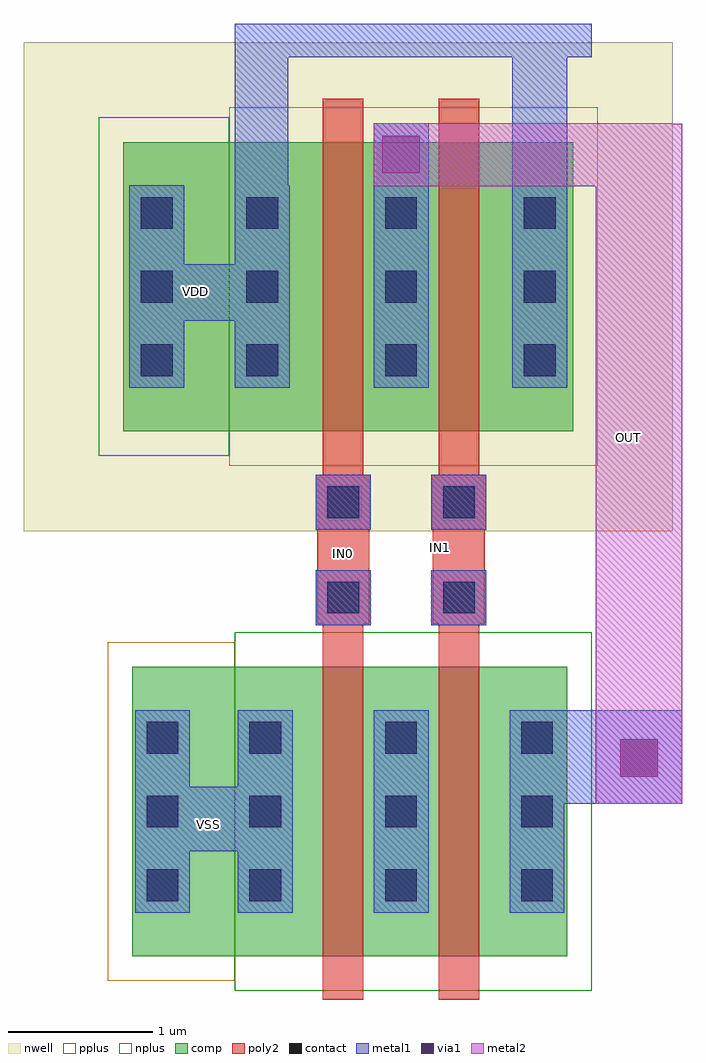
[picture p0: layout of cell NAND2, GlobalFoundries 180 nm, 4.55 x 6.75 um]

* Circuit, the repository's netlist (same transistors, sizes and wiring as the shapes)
** sch_path: /foss/designs/CAD2/NAND2.sch
.subckt NAND2 vdd INO OUT IN1 vss
*.PININFO INO:I IN1:I vdd:B vss:B OUT:O
M1 OUT INO net1 vss nfet_03v3 L=0.28u W=2u nf=1 m=1
M2 net1 IN1 vss vss nfet_03v3 L=0.28u W=2u nf=1 m=1
M3 OUT INO vdd vdd pfet_03v3 L=0.28u W=2u nf=1 m=1
M4 OUT IN1 vdd vdd pfet_03v3 L=0.28u W=2u nf=1 m=1
.ends

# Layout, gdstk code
from math import pi, radians
import gdstk
lib = gdstk.Library(unit=1e-6, precision=5e-09)
def R(c, l, rs):  # rectangles x0, y0, x1, y1
    for r in rs: c.add(gdstk.rectangle(r[:2], r[2:], *l))
def A(c, l, x, y, w, h, nx, ny, dx, dy):  # array of equal rectangles
    R(c, l, [(x+i*dx, y+j*dy, x+i*dx+w, y+j*dy+h) for i in range(nx) for j in range(ny)])
nwell = (21, 0)
comp = (22, 0)
poly2 = (30, 0)
pplus = (31, 0)
nplus = (32, 0)
contact = (33, 0)
metal1 = (34, 0)
via1 = (35, 0)
metal2 = (36, 0)

nfet_1 = lib.new_cell('nfet$1')
R(nfet_1, comp, [(-0.42,0,0,2), (0,0,1.46,2), (1.46,0,1.88,2), (1.88,0,2.59,2)])
R(nfet_1, poly2, [(0.19,-0.3,0.47,2.3), (0.99,-0.3,1.27,2.3), (0.15,2.3,0.51,2.66), (0.95,2.3,1.31,2.66)])
R(nfet_1, pplus, [(1.88,-0.17,2.76,2.17)])
R(nfet_1, nplus, [(-0.59,-0.24,1.88,2.24)])
A(nfet_1, contact, -0.32, 0.38, 0.22, 0.22, 3, 3, 0.94, 0.51)
A(nfet_1, contact, 2.27, 0.38, 0.22, 0.22, 1, 3, 0, 0.51)
R(nfet_1, contact, [(0.22,2.37,0.44,2.59), (1.02,2.37,1.24,2.59)])
A(nfet_1, metal1, -0.4, 0.3, 0.38, 1.4, 3, 1, 0.94, 0)
R(nfet_1, metal1, [(2.19,0.3,2.57,1.7), (0.14,2.29,0.52,2.67), (0.94,2.29,1.32,2.67)])

pfet_1 = lib.new_cell('pfet$1')
R(pfet_1, nwell, [(-1.15,-0.69,3.34,2.69)])
R(pfet_1, comp, [(-0.46,0,0,2), (0,0,1.46,2), (1.46,0,1.92,2), (1.92,0,2.65,2)])
R(pfet_1, poly2, [(0.19,-0.3,0.47,2.3), (0.99,-0.3,1.27,2.3), (0.14,2.3,0.52,2.68), (0.94,2.3,1.32,2.68)])
R(pfet_1, pplus, [(-0.63,-0.24,1.92,2.24)])
R(pfet_1, nplus, [(1.92,-0.17,2.82,2.17)])
A(pfet_1, contact, -0.34, 0.38, 0.22, 0.22, 3, 3, 0.96, 0.51)
A(pfet_1, contact, 2.31, 0.38, 0.22, 0.22, 1, 3, 0, 0.51)
R(pfet_1, contact, [(0.22,2.38,0.44,2.6), (1.02,2.38,1.24,2.6)])
A(pfet_1, metal1, -0.42, 0.3, 0.38, 1.4, 3, 1, 0.96, 0)
R(pfet_1, metal1, [(2.23,0.3,2.61,1.7), (0.14,2.3,0.52,2.68), (0.94,2.3,1.32,2.68)])

nand2 = lib.new_cell('NAND2')
R(nand2, poly2, [(-0.825,1.12,-0.465,1.79), (-0.025,1.12,0.335,1.79)])
R(nand2, metal1, [(-2.085,-0.815,-0.995,-0.37), (0.505,-0.485,1.7,0.16), (-2.125,2.855,-1.015,3.245), (-1.395,3.79,-1.025,4.91), (-0.435,3.79,-0.055,4.22), (0.525,3.79,0.905,4.91), (-1.395,4.675,1.075,4.91)])
R(nand2, via1, [(1.27,-0.3,1.53,-0.04), (-0.375,3.875,-0.115,4.135)])
R(nand2, metal2, [(1.1,-0.485,1.7,1.795), (1.1,1.795,1.7,4.215), (-0.435,3.785,1.635,4.22)])
nand2.add(gdstk.Reference(nfet_1, (0.485,-1.54), rotation=pi, x_reflection=True))
nand2.add(gdstk.Reference(pfet_1, (0.485,4.09), rotation=pi))
nand2.add(gdstk.Label('IN0', (-0.645,1.245), layer=34, texttype=10))
nand2.add(gdstk.Label('IN1', (0.025,1.285), layer=34, texttype=10))
nand2.add(gdstk.Label('VDD', (-1.67,3.055), layer=34, texttype=10))
nand2.add(gdstk.Label('VSS', (-1.58,-0.63), layer=34, texttype=10))
nand2.add(gdstk.Label('OUT', (1.325,2.045), layer=36, texttype=10))

lib.write_gds('NAND2.gds')
